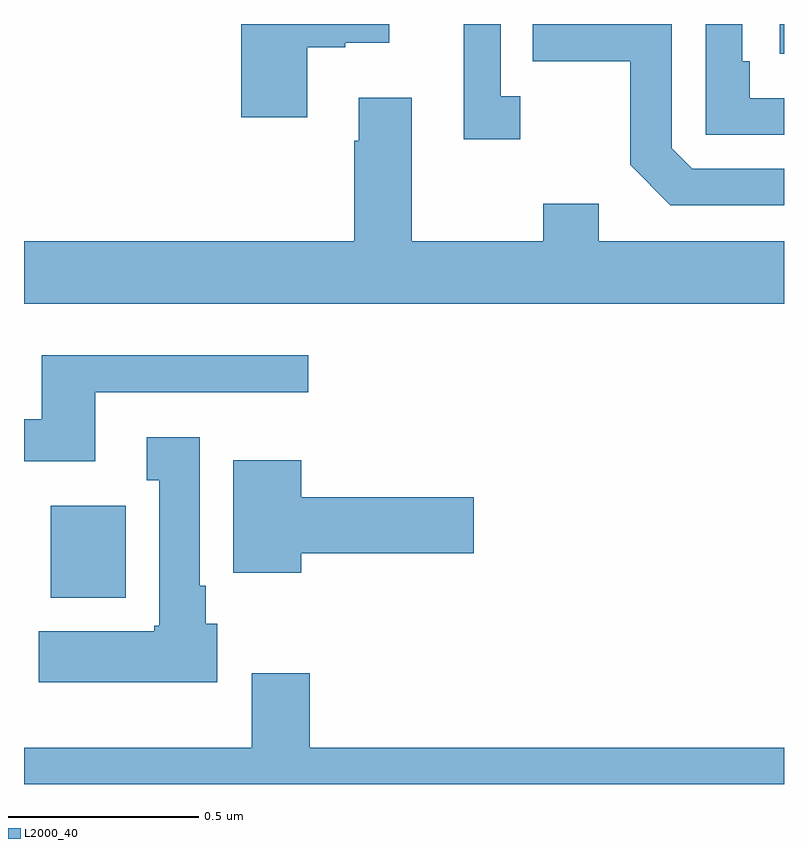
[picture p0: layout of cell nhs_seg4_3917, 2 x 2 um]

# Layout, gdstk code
import gdstk
lib = gdstk.Library(unit=1e-6, precision=1e-09)
def R(c, l, rs):  # rectangles x0, y0, x1, y1
    for r in rs: c.add(gdstk.rectangle(r[:2], r[2:], *l))
def P(c, l, *ps):  # polygons
    for p in ps: c.add(gdstk.Polygon(p, *l))
L2000_40 = (2000, 40)

nhs_seg4_3917 = lib.new_cell('nhs_seg4_3917')
R(nhs_seg4_3917, L2000_40, [(159.071,785.39,159.268,785.632), (160.989,786.822,161,786.9)])
P(nhs_seg4_3917, L2000_40, [(159.745,786.839),(159.845,786.839),(159.845,786.851),(159.961,786.851),(159.961,786.9),(159.572,786.9),(159.572,786.654),(159.745,786.654)],
  [(160.306,786.71),(160.254,786.71),(160.254,786.9),(160.157,786.9),(160.157,786.597),(160.306,786.597)],
  [(161,786.519),(160.758,786.519),(160.704,786.573),(160.704,786.9),(160.339,786.9),(160.339,786.802),(160.596,786.802),(160.596,786.529),(160.701,786.423),(161,786.423)],
  [(161,786.705),(160.91,786.705),(160.91,786.802),(160.89,786.802),(160.89,786.9),(160.794,786.9),(160.794,786.609),(161,786.609)],
  [(161,786.328),(160.513,786.328),(160.513,786.427),(160.366,786.427),(160.366,786.328),(160.021,786.328),(160.021,786.706),(159.881,786.706),(159.881,786.593),(159.869,786.593),(159.869,786.328),(159,786.328),(159,786.164),(161,786.164)],
  [(159.187,785.931),(159.748,785.931),(159.748,786.028),(159.047,786.028),(159.047,785.86),(159,785.86),(159,785.75),(159.187,785.75)],
  [(159.508,785.322),(159.478,785.322),(159.478,785.422),(159.463,785.422),(159.463,785.812),(159.323,785.812),(159.323,785.699),(159.356,785.699),(159.356,785.316),(159.343,785.316),(159.343,785.302),(159.039,785.302),(159.039,785.168),(159.508,785.168)],
  [(159.73,785.507),(160.183,785.507),(160.183,785.654),(159.73,785.654),(159.73,785.752),(159.551,785.752),(159.551,785.456),(159.73,785.456)],
  [(161,784.996),(159.752,784.996),(159.752,785.191),(159.599,785.191),(159.599,784.996),(159,784.996),(159,784.9),(161,784.9)])

lib.write_gds('nhs_seg4_3917.gds')
